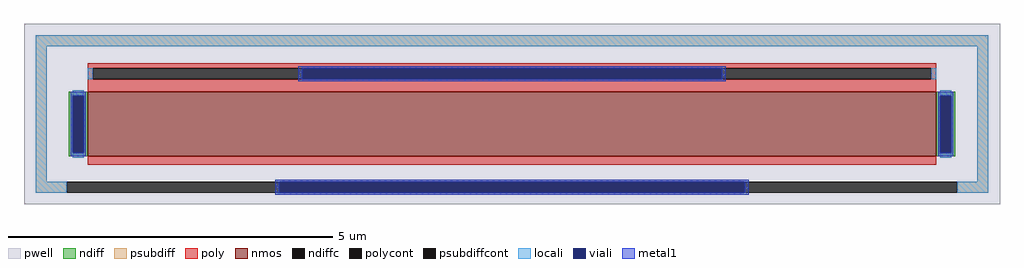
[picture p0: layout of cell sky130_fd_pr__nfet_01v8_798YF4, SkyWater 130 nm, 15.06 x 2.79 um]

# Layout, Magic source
magic
tech sky130A
magscale 1 2
<< pwell >>
rect -1506 -279 1506 279
<< nmos >>
rect -1310 -131 1310 69
<< ndiff >>
rect -1368 57 -1310 69
rect -1368 -119 -1356 57
rect -1322 -119 -1310 57
rect -1368 -131 -1310 -119
rect 1310 57 1368 69
rect 1310 -119 1322 57
rect 1356 -119 1368 57
rect 1310 -131 1368 -119
<< ndiffc >>
rect -1356 -119 -1322 57
rect 1322 -119 1356 57
<< psubdiff >>
rect -1470 209 1470 243
rect -1470 -209 -1436 209
rect 1436 -209 1470 209
rect -1470 -243 -1374 -209
rect 1374 -243 1470 -209
<< psubdiffcont >>
rect -1374 -243 1374 -209
<< poly >>
rect -1310 141 1310 157
rect -1310 107 -1294 141
rect 1294 107 1310 141
rect -1310 69 1310 107
rect -1310 -157 1310 -131
<< polycont >>
rect -1294 107 1294 141
<< locali >>
rect -1470 209 1470 243
rect -1470 -209 -1436 209
rect -1310 107 -1294 141
rect 1294 107 1310 141
rect -1356 57 -1322 73
rect -1356 -135 -1322 -119
rect 1322 57 1356 73
rect 1322 -135 1356 -119
rect 1436 -209 1470 209
rect -1470 -243 -1374 -209
rect 1374 -243 1470 -209
<< viali >>
rect -647 107 647 141
rect -1356 -119 -1322 57
rect 1322 -119 1356 57
rect -718 -243 718 -209
<< metal1 >>
rect -659 141 659 147
rect -659 107 -647 141
rect 647 107 659 141
rect -659 101 659 107
rect -1362 57 -1316 69
rect -1362 -119 -1356 57
rect -1322 -119 -1316 57
rect -1362 -131 -1316 -119
rect 1316 57 1362 69
rect 1316 -119 1322 57
rect 1356 -119 1362 57
rect 1316 -131 1362 -119
rect -730 -209 730 -203
rect -730 -243 -718 -209
rect 718 -243 730 -209
rect -730 -249 730 -243
<< properties >>
string FIXED_BBOX -1453 -226 1453 226
string gencell sky130_fd_pr__nfet_01v8
string library sky130
string parameters w 1.0 l 13.1 m 1 nf 1 diffcov 100 polycov 100 guard 1 glc 0 grc 0 gtc 0 gbc 1 tbcov 100 rlcov 100 topc 1 botc 0 poverlap 0 doverlap 1 lmin 0.15 wmin 0.42 compatible {sky130_fd_pr__nfet_01v8 sky130_fd_pr__nfet_01v8_lvt  sky130_fd_bs_flash__special_sonosfet_star  sky130_fd_pr__nfet_g5v0d10v5 sky130_fd_pr__nfet_05v0_nvt  sky130_fd_pr__nfet_03v3_nvt} full_metal 1 viasrc 100 viadrn 100 viagate 50 viagb 50 viagr 0 viagl 0 viagt 0
<< end >>
